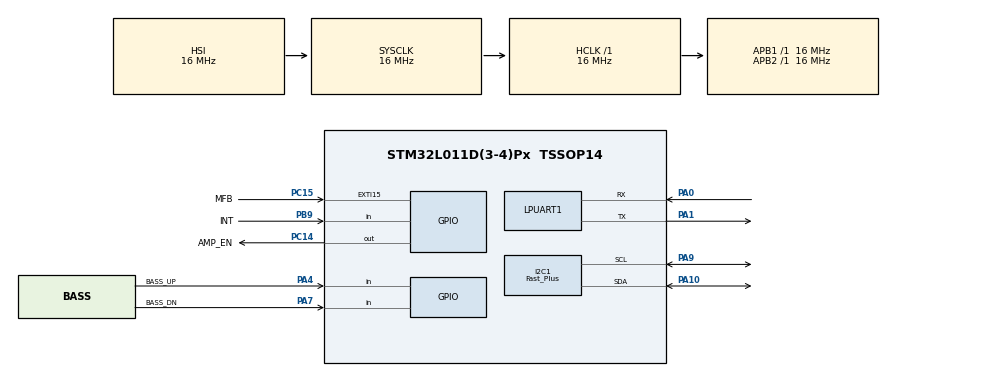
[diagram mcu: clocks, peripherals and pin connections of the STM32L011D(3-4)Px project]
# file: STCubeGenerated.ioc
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I2C1.I2C_Speed_Mode=I2C_Fast_Plus
I2C1.Timing=0x00000107
Mcu.Family=STM32L0
Mcu.Name=STM32L011D(3-4)Px
Mcu.Package=TSSOP14
NVIC.EXTI4_15_IRQn=true\:0\:0\:false\:false\:true\:true\:true
NVIC.I2C1_IRQn=true\:0\:0\:false\:false\:true\:true\:true
NVIC.LPUART1_IRQn=true\:0\:0\:false\:false\:true\:true\:true
PA0-CK_IN.Mode=Asynchronous
PA0-CK_IN.Signal=LPUART1_RX
PA1.Mode=Asynchronous
PA1.Signal=LPUART1_TX
PA10.Mode=I2C
PA10.Signal=I2C1_SDA
PA13.Mode=Serial_Wire
PA13.Signal=SYS_SWDIO
PA14.Mode=Serial_Wire
PA14.Signal=SYS_SWCLK
PA4.GPIO_Label=BASS_UP
PA4.Signal=GPIO_Input
PA7.GPIO_Label=BASS_DN
PA7.Signal=GPIO_Input
PA9.Mode=I2C
PA9.Signal=I2C1_SCL
PB9-BOOT0.GPIO_Label=INT
PB9-BOOT0.Signal=GPIO_Input
PC14-OSC32_IN.GPIO_Label=AMP_EN
PC14-OSC32_IN.GPIO_PuPd=GPIO_PULLDOWN
PC14-OSC32_IN.PinState=GPIO_PIN_SET
PC14-OSC32_IN.Signal=GPIO_Output
PC15-OSC32_OUT.GPIO_Label=MFB
PC15-OSC32_OUT.GPIO_ModeDefaultEXTI=GPIO_MODE_IT_FALLING
PC15-OSC32_OUT.GPIO_PuPd=GPIO_PULLUP
PC15-OSC32_OUT.Signal=GPXTI15
ProjectManager.HeapSize=0x200
ProjectManager.StackSize=0x400
ProjectManager.TargetToolchain=MDK-ARM V5
RCC.AHBFreq_Value=16000000
RCC.APB1Freq_Value=16000000
RCC.APB1TimFreq_Value=16000000
RCC.APB2Freq_Value=16000000
RCC.APB2TimFreq_Value=16000000
RCC.HCLKFreq_Value=16000000
RCC.HSE_VALUE=8000000
RCC.HSI16_VALUE=16000000
RCC.HSI_VALUE=16000000
RCC.LSE_VALUE=32768
RCC.MSI_VALUE=2097000
RCC.SYSCLKFreq_VALUE=16000000
RCC.SYSCLKSource=RCC_SYSCLKSOURCE_HSI
RCC.VCOOutputFreq_Value=48000000
VP_CRC_VS_CRC.Mode=CRC_Activate
VP_IWDG_VS_IWDG.Mode=IWDG_Activate
VP_WWDG_VS_WWDG.Mode=WWDG_Activate
board=custom

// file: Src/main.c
/* USER CODE BEGIN Header */
/**
  ******************************************************************************
  * @file           : main.c
  * @brief          : Main program body
  ******************************************************************************
  * @attention
  *
  * <h2><center>&copy; Copyright (c) 2019 STMicroelectronics.
  * All rights reserved.</center></h2>
  *
  * This software component is licensed by ST under BSD 3-Clause license,
  * the "License"; You may not use this file except in compliance with the
  * License. You may obtain a copy of the License at:
  *                        opensource.org/licenses/BSD-3-Clause
  *
  ******************************************************************************
  */
/* USER CODE END Header */

#include "main.h"

CRC_HandleTypeDef hcrc;

I2C_HandleTypeDef hi2c1;

IWDG_HandleTypeDef hiwdg;

UART_HandleTypeDef hlpuart1;

WWDG_HandleTypeDef hwwdg;

/* USER CODE BEGIN PV */
const uint8_t volume_levels[15] = {0, 3, 10, 15, 24, 33, 45, 58, 75, 94, 117, 144, 176, 214, 0};  // logarithmic volume levels in 1.5dB steps
const uint16_t rheostat_address = 0x58, charger_address = 0x6B; // I2C slave addresses
uint8_t UART_Tx_data[2], UART_Rx_data[8], rheostat_data[8]; // UART and I2C data byte arrays
uint8_t current_volume = 0, previous_volume = 0;
uint32_t time0 = 0, time1 = 0, time2 = 0;
/* USER CODE END PV */

void SystemClock_Config(void);
static void MX_GPIO_Init(void);
static void MX_CRC_Init(void);
static void MX_I2C1_Init(void);
static void MX_IWDG_Init(void);
static void MX_LPUART1_UART_Init(void);
static void MX_WWDG_Init(void);

/* USER CODE BEGIN PFP */
static void power_state_handler(void);
static void UART_Command_Handler(void);
static void Bass_Volume(uint8_t volume);
uint8_t Button_State(GPIO_PinState button);
void Bass_Adjust(void);
/* USER CODE END PFP */

int main(void)
{

  /* MCU Configuration--------------------------------------------------------*/

  /* Reset of all peripherals, Initializes the Flash interface and the Systick. */
  HAL_Init();

  /* Configure the system clock */
  SystemClock_Config();

  /* Initialize all configured peripherals */
  MX_GPIO_Init();
  MX_CRC_Init();
  MX_I2C1_Init();
  MX_IWDG_Init();
  MX_LPUART1_UART_Init();
  MX_WWDG_Init();
  /* USER CODE BEGIN 2 */
	Bass_Volume(0);
  /* USER CODE END 2 */

  /* Infinite loop */
  while (1)
  {

    /* USER CODE BEGIN 3 */
		UART_Command_Handler();
		Bass_Adjust();
  }
  /* USER CODE END 3 */
}

void SystemClock_Config(void)
{
  RCC_OscInitTypeDef RCC_OscInitStruct = {0};
  RCC_ClkInitTypeDef RCC_ClkInitStruct = {0};
  RCC_PeriphCLKInitTypeDef PeriphClkInit = {0};

  /** Configure the main internal regulator output voltage
  */
  __HAL_PWR_VOLTAGESCALING_CONFIG(PWR_REGULATOR_VOLTAGE_SCALE1);
  /** Initializes the CPU, AHB and APB busses clocks
  */
  RCC_OscInitStruct.OscillatorType = RCC_OSCILLATORTYPE_HSI|RCC_OSCILLATORTYPE_LSI;
  RCC_OscInitStruct.HSIState = RCC_HSI_ON;
  RCC_OscInitStruct.HSICalibrationValue = RCC_HSICALIBRATION_DEFAULT;
  RCC_OscInitStruct.LSIState = RCC_LSI_ON;
  RCC_OscInitStruct.PLL.PLLState = RCC_PLL_NONE;
  if (HAL_RCC_OscConfig(&RCC_OscInitStruct) != HAL_OK)
  {
    Error_Handler();
  }
  /** Initializes the CPU, AHB and APB busses clocks
  */
  RCC_ClkInitStruct.ClockType = RCC_CLOCKTYPE_HCLK|RCC_CLOCKTYPE_SYSCLK
                              |RCC_CLOCKTYPE_PCLK1|RCC_CLOCKTYPE_PCLK2;
  RCC_ClkInitStruct.SYSCLKSource = RCC_SYSCLKSOURCE_HSI;
  RCC_ClkInitStruct.AHBCLKDivider = RCC_SYSCLK_DIV1;
  RCC_ClkInitStruct.APB1CLKDivider = RCC_HCLK_DIV1;
  RCC_ClkInitStruct.APB2CLKDivider = RCC_HCLK_DIV1;

  if (HAL_RCC_ClockConfig(&RCC_ClkInitStruct, FLASH_LATENCY_0) != HAL_OK)
  {
    Error_Handler();
  }
  PeriphClkInit.PeriphClockSelection = RCC_PERIPHCLK_LPUART1|RCC_PERIPHCLK_I2C1;
  PeriphClkInit.Lpuart1ClockSelection = RCC_LPUART1CLKSOURCE_PCLK1;
  PeriphClkInit.I2c1ClockSelection = RCC_I2C1CLKSOURCE_PCLK1;
  if (HAL_RCCEx_PeriphCLKConfig(&PeriphClkInit) != HAL_OK)
  {
    Error_Handler();
  }
}

static void MX_CRC_Init(void)
{

  hcrc.Instance = CRC;
  hcrc.Init.DefaultPolynomialUse = DEFAULT_POLYNOMIAL_ENABLE;
  hcrc.Init.DefaultInitValueUse = DEFAULT_INIT_VALUE_ENABLE;
  hcrc.Init.InputDataInversionMode = CRC_INPUTDATA_INVERSION_NONE;
  hcrc.Init.OutputDataInversionMode = CRC_OUTPUTDATA_INVERSION_DISABLE;
  hcrc.InputDataFormat = CRC_INPUTDATA_FORMAT_BYTES;
  if (HAL_CRC_Init(&hcrc) != HAL_OK)
  {
    Error_Handler();
  }

}

static void MX_I2C1_Init(void)
{

  hi2c1.Instance = I2C1;
  hi2c1.Init.Timing = 0x00000107;
  hi2c1.Init.OwnAddress1 = 0;
  hi2c1.Init.AddressingMode = I2C_ADDRESSINGMODE_7BIT;
  hi2c1.Init.DualAddressMode = I2C_DUALADDRESS_DISABLE;
  hi2c1.Init.OwnAddress2 = 0;
  hi2c1.Init.OwnAddress2Masks = I2C_OA2_NOMASK;
  hi2c1.Init.GeneralCallMode = I2C_GENERALCALL_DISABLE;
  hi2c1.Init.NoStretchMode = I2C_NOSTRETCH_DISABLE;
  if (HAL_I2C_Init(&hi2c1) != HAL_OK)
  {
    Error_Handler();
  }
  /** Configure Analogue filter
  */
  if (HAL_I2CEx_ConfigAnalogFilter(&hi2c1, I2C_ANALOGFILTER_ENABLE) != HAL_OK)
  {
    Error_Handler();
  }
  /** Configure Digital filter
  */
  if (HAL_I2CEx_ConfigDigitalFilter(&hi2c1, 0) != HAL_OK)
  {
    Error_Handler();
  }
  /** I2C Fast mode Plus enable
  */
  HAL_I2CEx_EnableFastModePlus(I2C_FASTMODEPLUS_I2C1);

}

static void MX_IWDG_Init(void)
{

  hiwdg.Instance = IWDG;
  hiwdg.Init.Prescaler = IWDG_PRESCALER_4;
  hiwdg.Init.Window = 4095;
  hiwdg.Init.Reload = 4095;
  if (HAL_IWDG_Init(&hiwdg) != HAL_OK)
  {
    Error_Handler();
  }

}

static void MX_LPUART1_UART_Init(void)
{

  hlpuart1.Instance = LPUART1;
  hlpuart1.Init.BaudRate = 209700;
  hlpuart1.Init.WordLength = UART_WORDLENGTH_7B;
  hlpuart1.Init.StopBits = UART_STOPBITS_1;
  hlpuart1.Init.Parity = UART_PARITY_NONE;
  hlpuart1.Init.Mode = UART_MODE_TX_RX;
  hlpuart1.Init.HwFlowCtl = UART_HWCONTROL_NONE;
  hlpuart1.Init.OneBitSampling = UART_ONE_BIT_SAMPLE_DISABLE;
  hlpuart1.AdvancedInit.AdvFeatureInit = UART_ADVFEATURE_NO_INIT;
  if (HAL_UART_Init(&hlpuart1) != HAL_OK)
  {
    Error_Handler();
  }

}

static void MX_WWDG_Init(void)
{

  hwwdg.Instance = WWDG;
  hwwdg.Init.Prescaler = WWDG_PRESCALER_1;
  hwwdg.Init.Window = 64;
  hwwdg.Init.Counter = 64;
  hwwdg.Init.EWIMode = WWDG_EWI_DISABLE;
  if (HAL_WWDG_Init(&hwwdg) != HAL_OK)
  {
    Error_Handler();
  }

}

static void MX_GPIO_Init(void)
{
  GPIO_InitTypeDef GPIO_InitStruct = {0};

  /* GPIO Ports Clock Enable */
  __HAL_RCC_GPIOB_CLK_ENABLE();
  __HAL_RCC_GPIOC_CLK_ENABLE();
  __HAL_RCC_GPIOA_CLK_ENABLE();

  /*Configure GPIO pin Output Level */
  HAL_GPIO_WritePin(AMP_EN_GPIO_Port, AMP_EN_Pin, GPIO_PIN_SET);

  /*Configure GPIO pin : INT_Pin */
  GPIO_InitStruct.Pin = INT_Pin;
  GPIO_InitStruct.Mode = GPIO_MODE_INPUT;
  GPIO_InitStruct.Pull = GPIO_NOPULL;
  HAL_GPIO_Init(INT_GPIO_Port, &GPIO_InitStruct);

  /*Configure GPIO pin : AMP_EN_Pin */
  GPIO_InitStruct.Pin = AMP_EN_Pin;
  GPIO_InitStruct.Mode = GPIO_MODE_OUTPUT_PP;
  GPIO_InitStruct.Pull = GPIO_PULLDOWN;
  GPIO_InitStruct.Speed = GPIO_SPEED_FREQ_LOW;
  HAL_GPIO_Init(AMP_EN_GPIO_Port, &GPIO_InitStruct);

  /*Configure GPIO pin : MFB_Pin */
  GPIO_InitStruct.Pin = MFB_Pin;
  GPIO_InitStruct.Mode = GPIO_MODE_IT_FALLING;
  GPIO_InitStruct.Pull = GPIO_PULLUP;
  HAL_GPIO_Init(MFB_GPIO_Port, &GPIO_InitStruct);

  /*Configure GPIO pins : BASS_UP_Pin BASS_DN_Pin */
  GPIO_InitStruct.Pin = BASS_UP_Pin|BASS_DN_Pin;
  GPIO_InitStruct.Mode = GPIO_MODE_INPUT;
  GPIO_InitStruct.Pull = GPIO_NOPULL;
  HAL_GPIO_Init(GPIOA, &GPIO_InitStruct);

  /* EXTI interrupt init*/
  HAL_NVIC_SetPriority(EXTI4_15_IRQn, 0, 0);
  HAL_NVIC_EnableIRQ(EXTI4_15_IRQn);

}

/* USER CODE BEGIN 4 */
/* switches MCU between power states: run, low power run, and standby */
static void power_state_handler(void)
{
	/* switch MCU to standby mode if BTM is in powered off state */
	if(UART_Rx_data[1] == 0x00)
	{
		HAL_PWR_EnableWakeUpPin(MFB_Pin);
		HAL_PWR_EnterSTANDBYMode();
	}

	else
	{
		/* swtich MCU to low power run mode and shutdown amplifier if no audio streaming */
		if(UART_Rx_data[7] == 0x00)
		{
			HAL_PWREx_EnableLowPowerRunMode();
			HAL_GPIO_WritePin(AMP_EN_GPIO_Port, AMP_EN_Pin, GPIO_PIN_RESET);

		}
		/* swtich MCU to run mode and enable amplifier if there is audio streaming */
		else if(UART_Rx_data[7] == 0x01)
		{
			HAL_PWREx_DisableLowPowerRunMode();
			HAL_GPIO_WritePin(AMP_EN_GPIO_Port, AMP_EN_Pin, GPIO_PIN_SET);
		}
	}
}

/* poll BTM status every 500ms */
static void UART_Command_Handler(void)
{
	if((HAL_GetTick()-time0) >= 500 || time0 == 0)
	{
		UART_Tx_data[0] = 0x0D;

		HAL_UART_Transmit(&hlpuart1, UART_Tx_data, 	2, 50);
		HAL_UART_Receive(&hlpuart1, UART_Rx_data, 8, 50);
		if(UART_Rx_data[0] == 0x1E)
		{
			power_state_handler();
		}
		time0 = HAL_GetTick(); //reset timer
	}
}

/* set bass volume using digital rheostat IC */
static void Bass_Volume(uint8_t volume)
{
	for(uint8_t i=0; i<=7; i++) //set rheostat data array
	{
		 if(i%2 == 0)
		 {
			 switch (i)
			 {
				 case 0:
					 rheostat_data[i] = 0x00; //P0
					 break;
				 case 2:
					 rheostat_data[i] = 0x10; //P1
					 break;
				 case 4:
					 rheostat_data[i] = 0x20; //P2
					 break;
				 case 6:
					 rheostat_data[i] = 0x30; //P3
					 break;
			 }
			 if(volume == 14)
				 rheostat_data[i]++; //256
		 }
		 else
			 rheostat_data[i] = volume_levels[volume]; //set resistor level
	}
	HAL_GPIO_WritePin(AMP_EN_GPIO_Port, AMP_EN_Pin, GPIO_PIN_RESET);
	HAL_I2C_Master_Transmit(&hi2c1, rheostat_address, rheostat_data, 8, 50); //do I2C transmission to MCP4452
	HAL_GPIO_WritePin(AMP_EN_GPIO_Port, AMP_EN_Pin, GPIO_PIN_SET);
}

/* button debouncing */
uint8_t Button_State(GPIO_PinState button)
{
	GPIO_PinState button_previous = button;
	if(button == GPIO_PIN_SET)
	{
		if(button != button_previous)
			time1 = HAL_GetTick(); //get initial time once transition occurs
		if((HAL_GetTick() - time1) >= 30)
			return 1;
		else
			return 0;
	}
}

void Bass_Adjust(void)
{
	if(Button_State(HAL_GPIO_ReadPin(BASS_UP_GPIO_Port, BASS_UP_Pin)) == 1)
	{
		if(current_volume != 14 && current_volume == previous_volume) //don't increase past minimum volume level and only change 1 step
		{
			current_volume++;
			Bass_Volume(current_volume);
		}
	}
	else if(Button_State(HAL_GPIO_ReadPin(BASS_DN_GPIO_Port, BASS_DN_Pin)) == 1)
	{
		if(current_volume != 0 && current_volume == previous_volume) //don't decrease past minimum volume level and only change by 1 step
		{
			current_volume--;
			Bass_Volume(current_volume);
		}
	}
	else
		previous_volume = current_volume;
}
/* USER CODE END 4 */

void Error_Handler(void)
{
}

/************************ (C) COPYRIGHT STMicroelectronics *****END OF FILE****/
